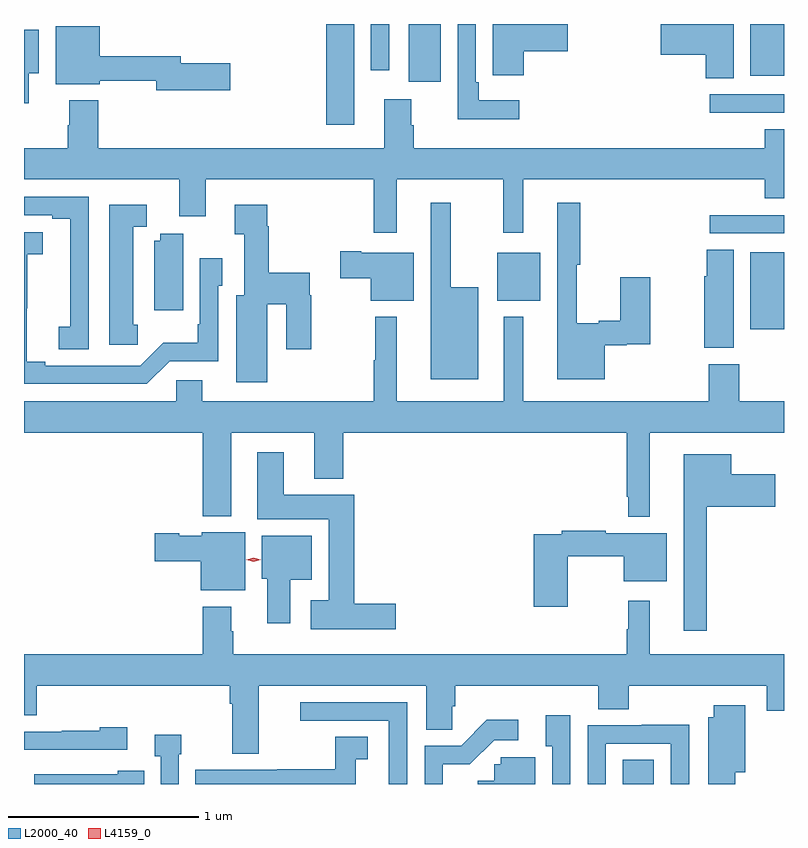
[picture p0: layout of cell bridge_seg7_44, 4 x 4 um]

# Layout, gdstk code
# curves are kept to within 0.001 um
import gdstk
lib = gdstk.Library(unit=1e-6, precision=1e-09)
def R(c, l, rs):  # rectangles x0, y0, x1, y1
    for r in rs: c.add(gdstk.rectangle(r[:2], r[2:], *l))
def P(c, l, *ps):  # polygons
    for p in ps: c.add(gdstk.Polygon(p, *l))
L2000_40 = (2000, 40)
L4159_0 = (4159, 0)

bridge_seg7_44 = lib.new_cell('bridge_seg7_44')
R(bridge_seg7_44, L2000_40, [(989.642,1034.73,989.806,1034.858), (990.314,1037.123,990.491,1037.53), (988.982,1037.273,989.209,1037.527), (990.099,1037.628,990.491,1037.724), (988.082,1038.201,988.228,1038.73), (990.099,1038.264,990.491,1038.36), (988.517,1038.426,988.684,1038.73), (990.314,1038.458,990.491,1038.73), (988.317,1038.486,988.413,1038.73)])
P(bridge_seg7_44, L2000_40, [(990.226,1038.73),(989.841,1038.73),(989.841,1038.569),(990.08,1038.569),(990.08,1038.445),(990.226,1038.445)],
  [(989.12,1038.587),(989.353,1038.587),(989.353,1038.73),(988.958,1038.73),(988.958,1038.571),(988.959,1038.571),(988.959,1038.459),(989.12,1038.459)],
  [(989.098,1038.328),(988.885,1038.328),(988.885,1038.424),(988.869,1038.424),(988.869,1038.73),(988.773,1038.73),(988.773,1038.23),(989.098,1038.23)],
  [(987.577,1038.524),(987.316,1038.524),(987.316,1038.56),(986.89,1038.56),(986.89,1038.718),(986.657,1038.718),(986.657,1038.413),(986.89,1038.413),(986.89,1038.432),(987.188,1038.432),(987.188,1038.382),(987.577,1038.382)],
  [(986.515,1038.47),(986.569,1038.47),(986.569,1038.7),(986.491,1038.7),(986.491,1038.312),(986.515,1038.312)],
  [(988.453,1037.912),(989.013,1037.912),(989.013,1037.631),(989.119,1037.631),(989.119,1037.912),(990.389,1037.912),(990.389,1037.813),(990.491,1037.813),(990.491,1038.175),(990.389,1038.175),(990.389,1038.076),(988.541,1038.076),(988.541,1038.197),(988.528,1038.197),(988.528,1038.334),(988.388,1038.334),(988.388,1038.076),(986.882,1038.076),(986.882,1038.328),(986.729,1038.328),(986.729,1038.197),(986.722,1038.197),(986.722,1038.076),(986.491,1038.076),(986.491,1037.912),(987.308,1037.912),(987.308,1037.718),(987.448,1037.718),(987.448,1037.912),(988.332,1037.912),(988.332,1037.631),(988.453,1037.631)],
  [(986.832,1037.82),(986.491,1037.82),(986.491,1037.724),(986.639,1037.724),(986.639,1037.704),(986.735,1037.704),(986.735,1037.441),(986.734,1037.441),(986.734,1037.137),(986.673,1037.137),(986.673,1037.017),(986.832,1037.017)],
  [(988.882,1037.344),(988.738,1037.344),(988.738,1037.788),(988.631,1037.788),(988.631,1036.859),(988.882,1036.859)],
  [(989.548,1037.038),(989.664,1037.038),(989.664,1037.045),(989.788,1037.045),(989.788,1037.398),(989.63,1037.398),(989.63,1037.168),(989.516,1037.168),(989.516,1037.155),(989.401,1037.155),(989.401,1037.463),(989.419,1037.463),(989.419,1037.788),(989.297,1037.788),(989.297,1036.859),(989.548,1036.859)],
  [(987.089,1037.148),(987.067,1037.148),(987.067,1037.664),(987.136,1037.664),(987.136,1037.779),(986.939,1037.779),(986.939,1037.043),(987.089,1037.043)],
  [(987.772,1037.255),(987.872,1037.255),(987.872,1037.019),(988.002,1037.019),(988.002,1037.303),(987.994,1037.303),(987.994,1037.42),(987.78,1037.42),(987.78,1037.666),(987.772,1037.666),(987.772,1037.779),(987.6,1037.779),(987.6,1037.623),(987.65,1037.623),(987.65,1037.302),(987.608,1037.302),(987.608,1036.845),(987.772,1036.845)],
  [(987.258,1036.956),(987.513,1036.956),(987.513,1037.352),(987.534,1037.352),(987.534,1037.497),(987.417,1037.497),(987.417,1037.149),(987.405,1037.149),(987.405,1037.053),(987.223,1037.053),(987.102,1036.932),(986.602,1036.932),(986.602,1036.952),(986.506,1036.952),(986.508,1037.518),(986.59,1037.518),(986.59,1037.633),(986.491,1037.633),(986.491,1036.836),(987.138,1036.836)],
  [(987.328,1037.627),(987.208,1037.627),(987.208,1037.59),(987.176,1037.59),(987.176,1037.223),(987.328,1037.223)],
  [(990.226,1037.543),(990.085,1037.543),(990.085,1037.403),(990.071,1037.403),(990.071,1037.027),(990.226,1037.027)],
  [(988.543,1037.527),(988.267,1037.527),(988.267,1037.535),(988.155,1037.535),(988.155,1037.393),(988.316,1037.393),(988.316,1037.273),(988.543,1037.273)],
  [(989.785,1036.58),(990.491,1036.58),(990.491,1036.744),(990.255,1036.744),(990.255,1036.939),(990.095,1036.939),(990.095,1036.744),(989.119,1036.744),(989.119,1037.188),(989.015,1037.188),(989.015,1036.744),(988.453,1036.744),(988.453,1037.188),(988.339,1037.188),(988.339,1036.961),(988.332,1036.961),(988.332,1036.744),(987.43,1036.744),(987.43,1036.854),(987.291,1036.854),(987.291,1036.744),(986.491,1036.744),(986.491,1036.58),(987.431,1036.58),(987.431,1036.139),(987.583,1036.139),(987.583,1036.58),(988.019,1036.58),(988.019,1036.337),(988.172,1036.337),(988.172,1036.58),(989.664,1036.58),(989.664,1036.243),(989.67,1036.243),(989.67,1036.136),(989.785,1036.136)],
  [(988.447,1035.68),(988.229,1035.68),(988.229,1036.252),(987.859,1036.252),(987.859,1036.477),(987.719,1036.477),(987.719,1036.124),(988.094,1036.124),(988.094,1035.697),(987.999,1035.697),(987.999,1035.545),(988.447,1035.545)],
  [(990.085,1036.19),(990.445,1036.19),(990.445,1036.36),(990.214,1036.36),(990.214,1036.465),(989.963,1036.465),(989.963,1035.537),(990.085,1035.537)],
  [(989.352,1035.928),(989.648,1035.928),(989.648,1035.797),(989.875,1035.797),(989.875,1036.051),(989.552,1036.051),(989.552,1036.064),(989.32,1036.064),(989.32,1036.044),(989.174,1036.044),(989.174,1035.663),(989.352,1035.663)],
  [(987.655,1036.054),(987.426,1036.054),(987.426,1036.036),(987.309,1036.036),(987.309,1036.049),(987.18,1036.049),(987.18,1035.902),(987.422,1035.902),(987.422,1035.749),(987.655,1035.749)],
  [(987.892,1035.806),(988.006,1035.806),(988.006,1036.036),(987.743,1036.036),(987.743,1035.81),(987.77,1035.81),(987.77,1035.576),(987.892,1035.576)],
  [(987.727,1035.248),(988.607,1035.248),(988.607,1035.016),(988.746,1035.016),(988.746,1035.138),(988.76,1035.138),(988.76,1035.248),(989.513,1035.248),(989.513,1035.124),(989.673,1035.124),(989.673,1035.248),(990.401,1035.248),(990.401,1035.115),(990.491,1035.115),(990.491,1035.412),(989.785,1035.412),(989.785,1035.694),(989.671,1035.694),(989.671,1035.545),(989.664,1035.545),(989.664,1035.412),(987.591,1035.412),(987.591,1035.533),(987.583,1035.533),(987.583,1035.664),(987.431,1035.664),(987.431,1035.412),(986.491,1035.412),(986.491,1035.091),(986.558,1035.091),(986.558,1035.248),(987.575,1035.248),(987.575,1035.152),(987.587,1035.152),(987.587,1034.89),(987.727,1034.89)],
  [(988.509,1035.159),(987.945,1035.159),(987.945,1035.063),(988.412,1035.063),(988.412,1034.73),(988.509,1034.73)],
  [(990.234,1034.792),(990.286,1034.792),(990.286,1035.145),(990.121,1035.145),(990.121,1035.082),(990.092,1035.082),(990.092,1034.73),(990.234,1034.73)],
  [(989.367,1035.091),(989.237,1035.091),(989.237,1034.93),(989.271,1034.93),(989.271,1034.73),(989.367,1034.73)],
  [(988.696,1034.834),(988.838,1034.834),(988.965,1034.961),(989.092,1034.961),(989.092,1035.067),(988.927,1035.067),(988.791,1034.931),(988.599,1034.931),(988.599,1034.73),(988.696,1034.73)],
  [(989.553,1034.943),(989.895,1034.943),(989.895,1034.73),(989.991,1034.73),(989.991,1035.043),(989.741,1035.043),(989.741,1035.039),(989.457,1035.039),(989.457,1034.73),(989.553,1034.73)],
  [(987.034,1035.028),(986.889,1035.028),(986.889,1035.009),(986.689,1035.009),(986.689,1035.006),(986.491,1035.006),(986.491,1034.91),(987.034,1034.91)],
  [(987.306,1034.886),(987.319,1034.886),(987.319,1034.99),(987.179,1034.99),(987.179,1034.877),(987.21,1034.877),(987.21,1034.73),(987.306,1034.73)],
  [(988.236,1034.86),(988.3,1034.86),(988.3,1034.978),(988.128,1034.978),(988.128,1034.808),(987.823,1034.808),(987.823,1034.805),(987.391,1034.805),(987.391,1034.73),(988.236,1034.73)],
  [(989.182,1034.871),(989.001,1034.871),(989.001,1034.835),(988.965,1034.835),(988.965,1034.746),(988.878,1034.746),(988.878,1034.73),(989.182,1034.73)],
  [(987.125,1034.8),(986.985,1034.8),(986.985,1034.781),(986.545,1034.781),(986.545,1034.73),(987.125,1034.73)])
P(bridge_seg7_44, L4159_0, [(987.699,1035.9),(987.661,1035.91),(987.661,1035.91),(987.661,1035.91),(987.699,1035.92),(987.737,1035.91),(987.737,1035.91),(987.737,1035.91)])

lib.write_gds('bridge_seg7_44.gds')
